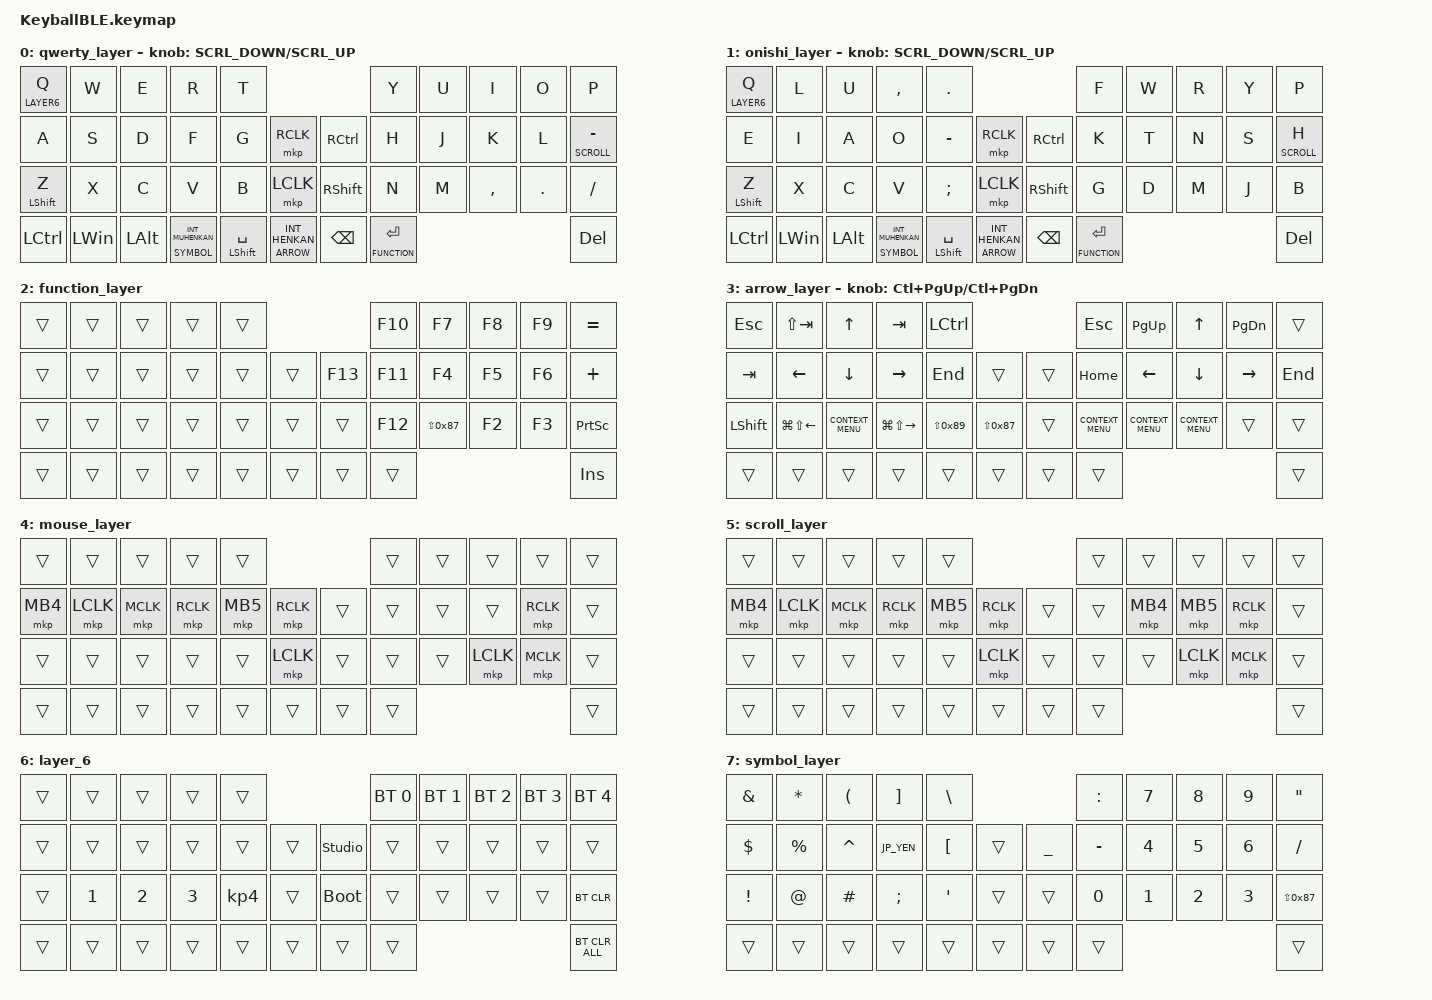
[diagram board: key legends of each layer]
#define ZMK_POINTING_DEFAULT_SCRL_VAL 120    // default: 10

  #include <behaviors.dtsi>
  #include <input/processors.dtsi>
  #include <dt-bindings/zmk/bt.h>
  #include <dt-bindings/zmk/keys.h>
  #include <dt-bindings/zmk/pointing.h>

  #define QWERTY 0
  #define ONISHI 1
  #define FUNCTION 2
  #define ARROW 3
  #define MOUSE 4
  #define SCROLL 5
  #define LAYER6 6
  #define SYMBOL 7

  #define SCRL_UP MOVE_Y(ZMK_POINTING_DEFAULT_SCRL_VAL)
  #define SCRL_DOWN MOVE_Y(-ZMK_POINTING_DEFAULT_SCRL_VAL)
  #define SCRL_LEFT MOVE_X(-ZMK_POINTING_DEFAULT_SCRL_VAL)
  #define SCRL_RIGHT MOVE_X(ZMK_POINTING_DEFAULT_SCRL_VAL)

  // OS設定を日本語キーボードのまま使用するための変換定義
  #define JP_DQUOTE       AT                // "
  #define JP_AMPERSAND    CARET             // &
  #define JP_QUOTE        AMPERSAND         // '
  #define JP_EQUAL        UNDER             // =
  #define JP_CARET        EQUAL             // ^
  #define JP_YEN          0x89              // ¥
  #define JP_PLUS         COLON             // +
  #define JP_TILDE        PLUS              // ~
  #define JP_PIPE         LS(0x89)          // |
  #define JP_AT           LEFT_BRACKET      // @
  #define JP_COLON        SINGLE_QUOTE      // :
  #define JP_ASTERISK     DOUBLE_QUOTES     // *
  #define JP_BACKQUOTE    LEFT_BRACE        // `
  #define JP_UNDERSCORE   LS(0x87)          // _
  #define JP_LBRACKET     RIGHT_BRACKET     // [
  #define JP_RBRACKET     BACKSLASH         // ]
  #define JP_LPAREN       ASTERISK          // (
  #define JP_RPAREN       LEFT_PARENTHESIS  // )
  #define JP_LBRACE       RIGHT_BRACE       // {
  #define JP_RBRACE       PIPE              // }
  #define JP_KANA         LANGUAGE_1        // かな
  #define JP_EISU         LANGUAGE_2        // 英数
  #define JP_HANZEN       GRAVE             // 半角/全角

  &mt {
      flavor = "balanced";
      quick-tap-ms = <0>;
  };

  / {
      combos {
          compatible = "zmk,combos";

          double_quotation {
              bindings = <&kp DOUBLE_QUOTES>;
              key-positions = <20 21>;
          };

          // QWERTY⇔大西配列の切り替えコンボ（左上2キーを同時押し）
          toggle_layout {
              bindings = <&tog ONISHI>;
              key-positions = <0 1>;
          };
      };

      behaviors {
          ROTATE: ROTATE {
              compatible = "zmk,behavior-sensor-rotate-var";
              label = "ROTATE";
              #sensor-binding-cells = <2>;
              bindings = <&msc>, <&msc>;
              tap-ms = <20>;
          };
      };

      keymap {
          compatible = "zmk,keymap";

          // Layer 0: QWERTY
          qwerty_layer {
              bindings = <
  &lt LAYER6 Q       &kp W         &kp E         &kp R              &kp T                                                          &kp Y        &kp U  &kp I      &kp O    &kp P
  &kp A              &kp S         &kp D         &kp F              &kp G                &mkp RCLK           &kp RCTRL             &kp H        &kp J  &kp K      &kp L    &lt SCROLL MINUS
  &mt LEFT_SHIFT Z   &kp X         &kp C         &kp V              &kp B                &mkp LCLK           &kp RIGHT_SHIFT       &kp N        &kp M  &kp COMMA  &kp DOT  &kp SLASH
  &kp LCTRL          &kp LEFT_WIN  &kp LEFT_ALT  &lt SYMBOL INT_MUHENKAN  &mt LEFT_SHIFT SPACE   &lt ARROW INT_HENKAN  &kp BACKSPACE  &lt FUNCTION ENTER                    &kp DEL
              >;
              sensor-bindings = <&ROTATE SCRL_DOWN SCRL_UP>;
          };

          // Layer 1: 大西配列
          onishi_layer {
              bindings = <
  &lt LAYER6 Q       &kp L         &kp U         &kp COMMA          &kp DOT                                                        &kp F        &kp W  &kp R      &kp Y    &kp P
  &kp E              &kp I         &kp A         &kp O              &kp MINUS            &mkp RCLK           &kp RCTRL             &kp K        &kp T  &kp N      &kp S    &lt SCROLL H
  &mt LEFT_SHIFT Z   &kp X         &kp C         &kp V              &kp SEMICOLON        &mkp LCLK           &kp RIGHT_SHIFT       &kp G        &kp D  &kp M      &kp J    &kp B
  &kp LCTRL          &kp LEFT_WIN  &kp LEFT_ALT  &lt SYMBOL INT_MUHENKAN  &mt LEFT_SHIFT SPACE   &lt ARROW INT_HENKAN  &kp BACKSPACE  &lt FUNCTION ENTER                    &kp DEL
              >;
              sensor-bindings = <&ROTATE SCRL_DOWN SCRL_UP>;
          };

          // Layer 2: FUNCTION
          function_layer {
              bindings = <
  &trans  &trans  &trans  &trans  &trans                       &kp F10  &kp F7             &kp F8  &kp F9  &kp JP_CARET
  &trans  &trans  &trans  &trans  &trans  &trans      &kp F13  &kp F11  &kp F4             &kp F5  &kp F6  &kp JP_TILDE
  &trans  &trans  &trans  &trans  &trans  &trans      &trans   &kp F12  &kp JP_UNDERSCORE  &kp F2  &kp F3  &kp PSCRN
  &trans  &trans  &trans  &trans  &trans  &trans      &trans   &trans                                      &kp INS
              >;
          };

          // Layer 3: ARROW
          arrow_layer {
              bindings = <
  &kp ESCAPE      &kp LS(TAB)             &kp UP_ARROW             &kp TAB              &kp LCTRL                          &kp ESCAPE          &kp PAGE_UP     &kp UP_ARROW    &kp PAGE_DOWN    &trans
  &kp TAB   &kp LEFT_ARROW          &kp DOWN_ARROW      &kp RIGHT_ARROW          &kp END        &trans      &trans  &kp HOME            &kp LEFT_ARROW  &kp DOWN_ARROW  &kp RIGHT_ARROW  &kp END
  &kp LEFT_SHIFT  &kp LG(LS(LEFT_ARROW))  &kp K_CONTEXT_MENU           &kp LG(LS(RIGHT_ARROW))  &kp JP_PIPE    &kp JP_UNDERSCORE  &trans  &kp K_CONTEXT_MENU  &kp K_CONTEXT_MENU  &kp K_CONTEXT_MENU   &trans       &trans
  &trans          &trans                  &trans              &trans                   &trans         &trans      &trans  &trans                                                               &trans
              >;
              sensor-bindings = <&inc_dec_kp LC(PAGE_UP) LC(PAGE_DOWN)>;
          };

          // Layer 4: MOUSE
          mouse_layer {
              bindings = <
  &trans    &trans     &trans     &trans     &trans                           &trans   &trans    &trans     &trans      &trans
  &mkp MB4  &mkp LCLK  &mkp MCLK  &mkp RCLK  &mkp MB5  &mkp RCLK      &trans  &trans   &trans  &trans   &mkp RCLK   &trans
  &trans    &trans     &trans     &trans     &trans    &mkp LCLK      &trans  &trans   &trans    &mkp LCLK  &mkp MCLK   &trans
  &trans    &trans     &trans     &trans     &trans    &trans         &trans  &trans                                    &trans
              >;
          };

          // Layer 5: SCROLL
          scroll_layer {
              bindings = <
&trans    &trans     &trans     &trans     &trans                           &trans   &trans    &trans     &trans      &trans
&mkp MB4  &mkp LCLK  &mkp MCLK  &mkp RCLK  &mkp MB5  &mkp RCLK      &trans  &trans   &mkp MB4    &mkp MB5   &mkp RCLK   &trans
&trans    &trans     &trans     &trans     &trans    &mkp LCLK      &trans  &trans   &trans    &mkp LCLK  &mkp MCLK   &trans
&trans    &trans     &trans     &trans     &trans    &trans         &trans  &trans                                    &trans
              >;
          };

          // Layer 6: Settings/BT
          layer_6 {
              bindings = <
  &trans  &trans       &trans        &trans        &trans                                  &bt BT_SEL 0  &bt BT_SEL 1  &bt BT_SEL 2  &bt BT_SEL 3  &bt BT_SEL 4
  &trans  &trans        &trans        &trans        &trans     &trans      &studio_unlock  &trans        &trans        &trans        &trans        &trans
  &trans  &kp NUMBER_1  &kp NUMBER_2  &kp NUMBER_3  &kp KP_N4  &trans      &bootloader     &trans        &trans        &trans        &trans        &bt BT_CLR
  &trans  &trans        &trans        &trans        &trans     &trans      &trans          &trans                                                  &bt BT_CLR_ALL
              >;
          };

          // Layer 7: Symbol/Number
          symbol_layer {
              bindings = <
  &kp JP_QUOTE     &kp JP_LPAREN  &kp JP_RPAREN     &kp JP_LBRACKET  &kp JP_RBRACKET                        &kp JP_PLUS   &kp NUMBER_7  &kp NUMBER_8  &kp NUMBER_9  &kp JP_ASTERISK
  &kp DOLLAR       &kp PERCENT    &kp JP_AMPERSAND  &kp JP_YEN       &kp JP_AT       &trans      &kp JP_EQUAL  &kp MINUS     &kp NUMBER_4  &kp NUMBER_5  &kp NUMBER_6  &kp SLASH
  &kp EXCLAMATION  &kp JP_DQUOTE  &kp HASH          &kp SEMICOLON    &kp JP_COLON    &trans      &trans        &kp NUMBER_0  &kp NUMBER_1  &kp NUMBER_2  &kp NUMBER_3  &kp JP_UNDERSCORE
  &trans           &trans         &trans            &trans           &trans          &trans      &trans        &trans                                                  &trans
              >;
          };
      };
  };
